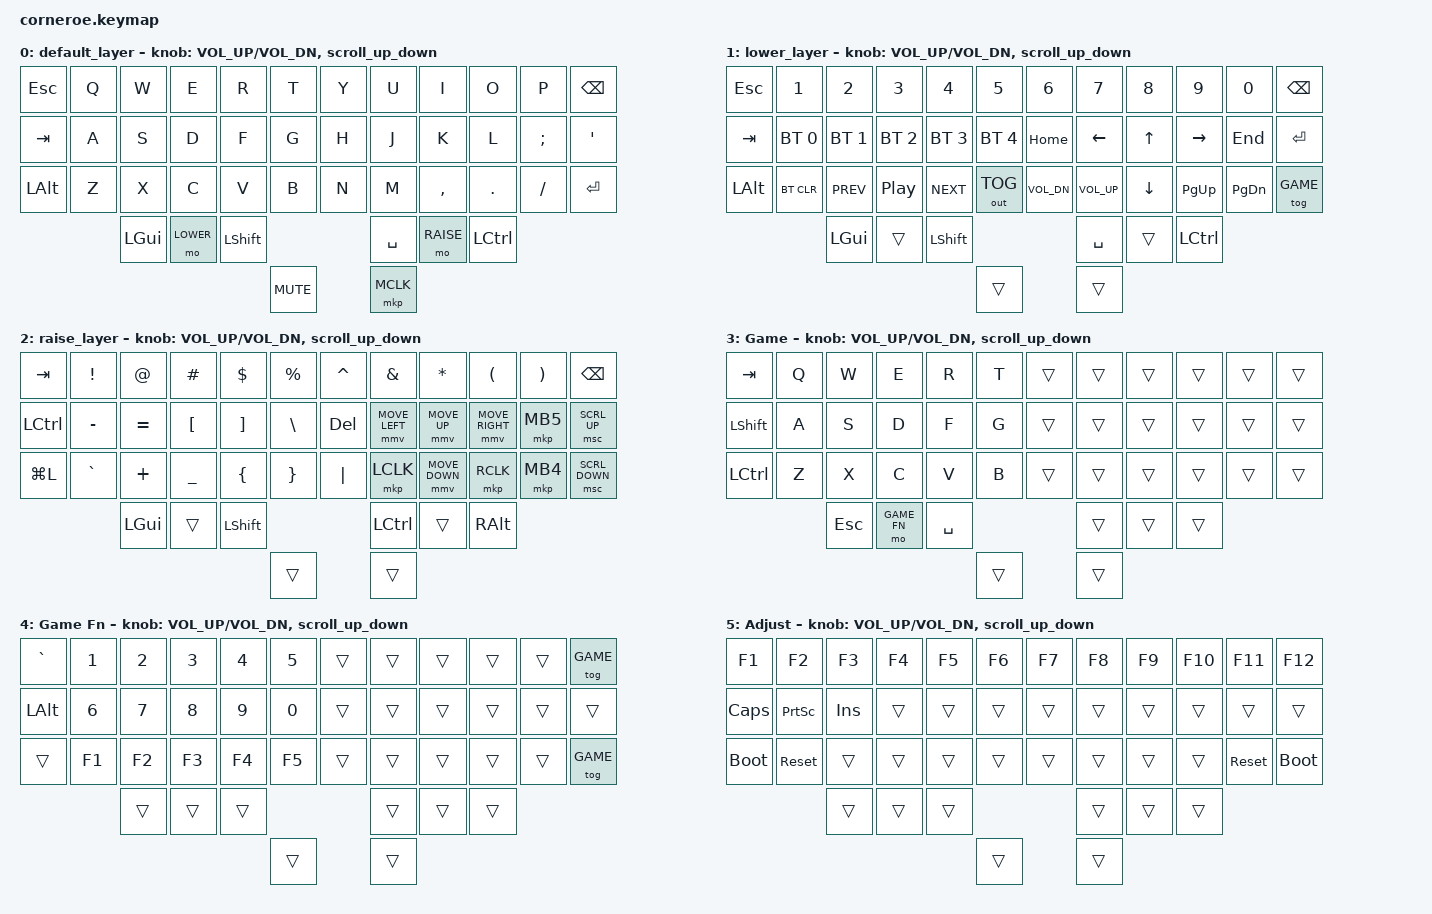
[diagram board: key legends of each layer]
// Must be defined before pointing.h is included, or the header's default (10) wins.
// &msc scrolls at this many units/sec while held. With smooth scrolling on,
// the host divides by 16, so 16 units = 1 wheel notch.
#define ZMK_POINTING_DEFAULT_SCRL_VAL 400

#include <dt-bindings/zmk/mouse.h>
#include <behaviors.dtsi>
#include <dt-bindings/zmk/bt.h>
#include <dt-bindings/zmk/keys.h>
#include <dt-bindings/zmk/outputs.h>
#include <dt-bindings/zmk/pointing.h>

#define BASE 0
#define LOWER 1
#define RAISE 2
#define GAME 3
#define GAME_FN 4
#define ADJUST 5

/ {
    behaviors {
        // Each encoder detent holds &msc for tap-ms: 400 units/s * 40ms ~= 16 units ~= 1 notch,
        // spread over a few 16ms reports so it glides instead of jumping.
        // Tune: raise SCRL_VAL for more distance per detent, raise tap-ms for a longer glide.
        scroll_up_down: behavior_sensor_rotate_mouse_wheel_up_down {
            compatible = "zmk,behavior-sensor-rotate";
            #sensor-binding-cells = <0>;
            bindings = <&msc SCRL_UP>, <&msc SCRL_DOWN>;
            tap-ms = <40>;
        };
    };

    // Hold Lower + Raise together for the Adjust layer.
    conditional_layers {
        compatible = "zmk,conditional-layers";
        adjust {
            if-layers = <LOWER RAISE>;
            then-layer = <ADJUST>;
        };
    };

    keymap {
        compatible = "zmk,keymap";

        default_layer {
            // Left: Volume | Right: Precise Scroll
            sensor-bindings = <&inc_dec_kp C_VOL_UP C_VOL_DN &scroll_up_down>;

            // Bottom row: encoder push buttons (left = mute, right = middle click)
            bindings = <
&kp ESCAPE    &kp Q  &kp W  &kp E  &kp R  &kp T        &kp Y  &kp U  &kp I      &kp O    &kp P     &kp BSPC
&kp TAB       &kp A  &kp S  &kp D  &kp F  &kp G        &kp H  &kp J  &kp K      &kp L    &kp SEMI  &kp APOS
&kp LEFT_ALT  &kp Z  &kp X  &kp C  &kp V  &kp B        &kp N  &kp M  &kp COMMA  &kp DOT  &kp FSLH  &kp ENTER
                     &kp LGUI  &mo LOWER  &kp LEFT_SHIFT    &kp SPACE  &mo RAISE  &kp LEFT_CONTROL
                                          &kp C_MUTE        &mkp MCLK
            >;
        };

        lower_layer {
            sensor-bindings = <&inc_dec_kp C_VOL_UP C_VOL_DN &scroll_up_down>;

            bindings = <
&kp ESC       &kp N1        &kp N2        &kp N3        &kp N4           &kp N5           &kp N6        &kp N7        &kp N8    &kp N9     &kp N0     &kp BSPC
&kp TAB       &bt BT_SEL 0  &bt BT_SEL 1  &bt BT_SEL 2  &bt BT_SEL 3     &bt BT_SEL 4     &kp HOME      &kp LEFT      &kp UP    &kp RIGHT  &kp END    &kp RET
&kp LEFT_ALT  &bt BT_CLR    &kp C_PREV    &kp C_PLAY_PAUSE  &kp C_NEXT       &out OUT_TOG     &kp C_VOL_DN  &kp C_VOL_UP  &kp DOWN  &kp PG_UP  &kp PG_DN  &tog GAME
                                          &kp LGUI      &trans           &kp LEFT_SHIFT   &kp SPACE     &trans        &kp LEFT_CONTROL
                                                                         &trans           &trans
            >;
        };

        raise_layer {
            sensor-bindings = <&inc_dec_kp C_VOL_UP C_VOL_DN &scroll_up_down>;

            // LG(L) = Win+L lock screen
            bindings = <
&kp TAB    &kp EXCL   &kp AT     &kp HASH   &kp DLLR  &kp PRCNT     &kp CARET  &kp AMPS        &kp ASTRK       &kp LPAR         &kp RPAR  &kp BSPC
&kp LCTRL  &kp MINUS  &kp EQUAL  &kp LBKT   &kp RBKT  &kp BSLH      &kp DEL    &mmv MOVE_LEFT  &mmv MOVE_UP    &mmv MOVE_RIGHT  &mkp MB5  &msc SCRL_UP
&kp LG(L)  &kp GRAVE  &kp PLUS   &kp UNDER  &kp LBRC  &kp RBRC      &kp PIPE   &mkp LCLK       &mmv MOVE_DOWN  &mkp RCLK        &mkp MB4  &msc SCRL_DOWN
                                 &kp LGUI   &trans    &kp LEFT_SHIFT    &kp LEFT_CONTROL  &trans  &kp RALT
                                                      &trans            &trans
            >;
        };

        // Gaming mode: toggle with Lower + bottom-right key. Only the left half changes;
        // the right half falls through to the base layer so chat still works.
        game_layer {
            display-name = "Game";
            sensor-bindings = <&inc_dec_kp C_VOL_UP C_VOL_DN &scroll_up_down>;

            bindings = <
&kp TAB     &kp Q  &kp W  &kp E  &kp R  &kp T     &trans  &trans  &trans  &trans  &trans  &trans
&kp LSHIFT  &kp A  &kp S  &kp D  &kp F  &kp G     &trans  &trans  &trans  &trans  &trans  &trans
&kp LCTRL   &kp Z  &kp X  &kp C  &kp V  &kp B     &trans  &trans  &trans  &trans  &trans  &trans
               &kp ESC  &mo GAME_FN  &kp SPACE    &trans  &trans  &trans
                                        &trans    &trans
            >;
        };

        // Held with the middle left thumb while in gaming mode.
        game_fn_layer {
            display-name = "Game Fn";
            sensor-bindings = <&inc_dec_kp C_VOL_UP C_VOL_DN &scroll_up_down>;

            bindings = <
&kp GRAVE   &kp N1  &kp N2  &kp N3  &kp N4  &kp N5    &trans  &trans  &trans  &trans  &trans  &tog GAME
&kp LALT    &kp N6  &kp N7  &kp N8  &kp N9  &kp N0    &trans  &trans  &trans  &trans  &trans  &trans
&trans      &kp F1  &kp F2  &kp F3  &kp F4  &kp F5    &trans  &trans  &trans  &trans  &trans  &tog GAME
                      &trans  &trans  &trans          &trans  &trans  &trans
                                        &trans    &trans
            >;
        };

        // Lower + Raise. Bootloader/reset act on the half they're pressed on.
        adjust_layer {
            display-name = "Adjust";
            sensor-bindings = <&inc_dec_kp C_VOL_UP C_VOL_DN &scroll_up_down>;

            bindings = <
&kp F1       &kp F2      &kp F3   &kp F4  &kp F5  &kp F6    &kp F7  &kp F8  &kp F9  &kp F10  &kp F11     &kp F12
&kp CAPS     &kp PSCRN   &kp INS  &trans  &trans  &trans    &trans  &trans  &trans  &trans   &trans      &trans
&bootloader  &sys_reset  &trans   &trans  &trans  &trans    &trans  &trans  &trans  &trans   &sys_reset  &bootloader
                           &trans  &trans  &trans           &trans  &trans  &trans
                                          &trans    &trans
            >;
        };
    };
};
